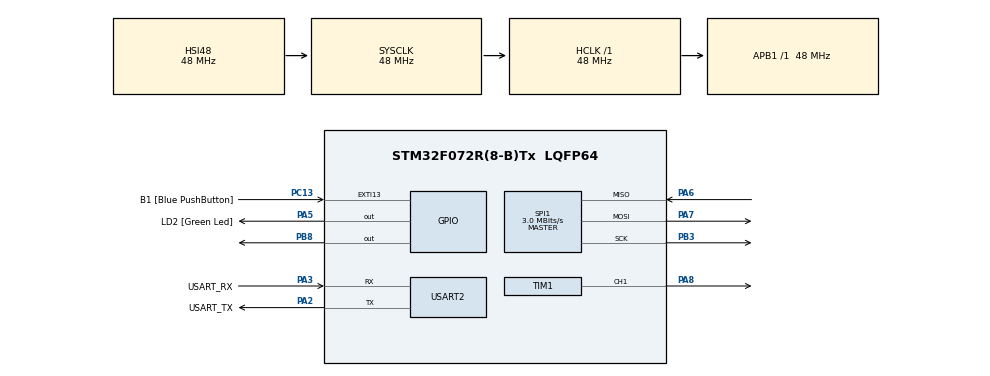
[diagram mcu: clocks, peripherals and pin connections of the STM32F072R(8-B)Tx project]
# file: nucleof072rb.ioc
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Mcu.Family=STM32F0
Mcu.Name=STM32F072R(8-B)Tx
Mcu.Package=LQFP64
PA13.GPIO_Label=TMS
PA13.Mode=Serial_Wire
PA13.Signal=SYS_SWDIO
PA14.GPIO_Label=TCK
PA14.Mode=Serial_Wire
PA14.Signal=SYS_SWCLK
PA2.GPIO_Label=USART_TX
PA2.GPIO_Mode=GPIO_MODE_AF_PP
PA2.GPIO_PuPd=GPIO_NOPULL
PA2.GPIO_Speed=GPIO_SPEED_FREQ_LOW
PA2.Mode=Asynchronous
PA2.Signal=USART2_TX
PA3.GPIO_Label=USART_RX
PA3.GPIO_Mode=GPIO_MODE_AF_PP
PA3.GPIO_PuPd=GPIO_NOPULL
PA3.GPIO_Speed=GPIO_SPEED_FREQ_LOW
PA3.Mode=Asynchronous
PA3.Signal=USART2_RX
PA5.GPIO_Label=LD2 [Green Led]
PA5.GPIO_Mode=GPIO_MODE_OUTPUT_PP
PA5.GPIO_PuPd=GPIO_NOPULL
PA5.GPIO_Speed=GPIO_SPEED_FREQ_LOW
PA5.Signal=GPIO_Output
PA6.Mode=Full_Duplex_Master
PA6.Signal=SPI1_MISO
PA7.Mode=Full_Duplex_Master
PA7.Signal=SPI1_MOSI
PA8.Signal=S_TIM1_CH1
PB3.Mode=Full_Duplex_Master
PB3.Signal=SPI1_SCK
PB8.Signal=GPIO_Output
PC13.GPIO_Label=B1 [Blue PushButton]
PC13.GPIO_ModeDefaultEXTI=GPIO_MODE_IT_FALLING
PC13.Signal=GPXTI13
PC14-OSC32_IN.Mode=LSE-External-Oscillator
PC14-OSC32_IN.Signal=RCC_OSC32_IN
PC15-OSC32_OUT.Mode=LSE-External-Oscillator
PC15-OSC32_OUT.Signal=RCC_OSC32_OUT
PF0-OSC_IN.Mode=HSE-External-Clock-Source
PF0-OSC_IN.Signal=RCC_OSC_IN
PF1-OSC_OUT.Signal=RCC_OSC_OUT
ProjectManager.HeapSize=0x200
ProjectManager.StackSize=0x400
ProjectManager.TargetToolchain=STM32CubeIDE
RCC.AHBFreq_Value=48000000
RCC.APB1Freq_Value=48000000
RCC.APB1TimFreq_Value=48000000
RCC.FLatency-AdvancedSettings=FLASH_LATENCY_1
RCC.HCLKFreq_Value=48000000
RCC.PLLDivider=RCC_PREDIV_DIV2
RCC.PLLMUL=RCC_PLL_MUL12
RCC.PREFETCH_ENABLE-AdvancedSettings=1
RCC.SYSCLKFreq_VALUE=48000000
RCC.SYSCLKSource=RCC_SYSCLKSOURCE_HSI48
SH.S_TIM1_CH1.0=TIM1_CH1,PWM Generation1 CH1
SPI1.BaudRatePrescaler=SPI_BAUDRATEPRESCALER_16
SPI1.CalculateBaudRate=3.0 MBits/s
SPI1.DataSize=SPI_DATASIZE_8BIT
SPI1.Direction=SPI_DIRECTION_2LINES
SPI1.Mode=SPI_MODE_MASTER
SPI1.VirtualType=VM_MASTER
TIM1.Channel-PWM\ Generation1\ CH1=TIM_CHANNEL_1
TIM1.Period=64000
TIM1.Prescaler=14
USART2.VirtualMode=VM_ASYNC
USART2.VirtualMode-Asynchronous=VM_ASYNC
VP_TIM1_VS_ClockSourceINT.Mode=Internal
board=NUCLEO-F072RB

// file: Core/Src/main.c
/* USER CODE BEGIN Header */
/**
  ******************************************************************************
  * @file           : main.c
  * @brief          : Main program body
  ******************************************************************************
  * @attention
  *
  * <h2><center>&copy; Copyright (c) 2021 STMicroelectronics.
  * All rights reserved.</center></h2>
  *
  * This software component is licensed by ST under BSD 3-Clause license,
  * the "License"; You may not use this file except in compliance with the
  * License. You may obtain a copy of the License at:
  *                        opensource.org/licenses/BSD-3-Clause
  *
  ******************************************************************************
  */
/* USER CODE END Header */
#include "main.h"
#include "spi.h"
#include "tim.h"
#include "usart.h"
#include "gpio.h"

/* USER CODE BEGIN PD */
#define MIN_Count 3200 // 3200 count = 1ms, min duty cycle 5%
#define MAX_Count 6400 // 6400 count = 2ms, max duty cycle 10%
#define ADC_MAX 1023   // max digital value of ADC (2^10 - 1)
/* USER CODE END PD */

/* USER CODE BEGIN PV */

uint8_t RxData[3];
uint8_t TxData[3] = {0x01, 0x80, 0x00};  // initiate communication, configure single ended read for CH1, remaining dummy byte
uint16_t ADC_value; 					// to store 10 bit ADC result
uint32_t PWM_duty;

/* USER CODE END PV */

void SystemClock_Config(void);

int main(void)
{

  /* MCU Configuration--------------------------------------------------------*/

  /* Reset of all peripherals, Initializes the Flash interface and the Systick. */
  HAL_Init();

  /* Configure the system clock */
  SystemClock_Config();

  /* Initialize all configured peripherals */
  MX_GPIO_Init();
  MX_USART2_UART_Init();
  MX_SPI1_Init();
  MX_TIM1_Init();
  /* USER CODE BEGIN 2 */

  // Start PWM signal generation on TIM1 CH1
  HAL_TIM_PWM_Start(&htim1, TIM_CHANNEL_1);

  // Set CS pin to high
  HAL_GPIO_WritePin(GPIOB, GPIO_PIN_8, GPIO_PIN_SET); // ref. pg 198 of STM doc

  /* USER CODE END 2 */

  /* Infinite loop */
  while (1)
  {

    /* USER CODE BEGIN 3 */

	  HAL_GPIO_WritePin(GPIOB, GPIO_PIN_8, GPIO_PIN_SET); 	// pull CS to high

	  // ADC communication over SPI; transmit/receive 3 bytes of data from SPI1, with 100ms timeout delay
	  HAL_SPI_TransmitReceive(&hspi1, TxData, RxData, 3, 100);

	  HAL_GPIO_WritePin(GPIOB, GPIO_PIN_8, GPIO_PIN_RESET);  		// pull CS to low

	  // extract 10-bits of ADC data into 1 PWM signal; shifting MSB into correct position and combining data
	  ADC_value = (RxData[1] & 0x03 ) << 8;
	  ADC_value |= RxData[2];

	  // compute duty cycle of 5-10% of 20ms
	  PWM_duty = MIN_Count + ((MAX_Count - MIN_Count) * ADC_value) / ADC_MAX ;

	  // turn ON duty cycle for PWM_duty count
	  __HAL_TIM_SET_COMPARE(&htim1, TIM_CHANNEL_1, PWM_duty);

	  HAL_Delay(10);
  }
  /* USER CODE END 3 */
}

void SystemClock_Config(void)
{
  RCC_OscInitTypeDef RCC_OscInitStruct = {0};
  RCC_ClkInitTypeDef RCC_ClkInitStruct = {0};
  RCC_PeriphCLKInitTypeDef PeriphClkInit = {0};

  /** Initializes the RCC Oscillators according to the specified parameters
  * in the RCC_OscInitTypeDef structure.
  */
  RCC_OscInitStruct.OscillatorType = RCC_OSCILLATORTYPE_HSI48;
  RCC_OscInitStruct.HSI48State = RCC_HSI48_ON;
  RCC_OscInitStruct.PLL.PLLState = RCC_PLL_NONE;
  if (HAL_RCC_OscConfig(&RCC_OscInitStruct) != HAL_OK)
  {
    Error_Handler();
  }
  /** Initializes the CPU, AHB and APB buses clocks
  */
  RCC_ClkInitStruct.ClockType = RCC_CLOCKTYPE_HCLK|RCC_CLOCKTYPE_SYSCLK
                              |RCC_CLOCKTYPE_PCLK1;
  RCC_ClkInitStruct.SYSCLKSource = RCC_SYSCLKSOURCE_HSI48;
  RCC_ClkInitStruct.AHBCLKDivider = RCC_SYSCLK_DIV1;
  RCC_ClkInitStruct.APB1CLKDivider = RCC_HCLK_DIV1;

  if (HAL_RCC_ClockConfig(&RCC_ClkInitStruct, FLASH_LATENCY_1) != HAL_OK)
  {
    Error_Handler();
  }
  PeriphClkInit.PeriphClockSelection = RCC_PERIPHCLK_USART2;
  PeriphClkInit.Usart2ClockSelection = RCC_USART2CLKSOURCE_PCLK1;
  if (HAL_RCCEx_PeriphCLKConfig(&PeriphClkInit) != HAL_OK)
  {
    Error_Handler();
  }
}

void Error_Handler(void)
{
  __disable_irq();
  while (1)
  {
  }
}

/************************ (C) COPYRIGHT STMicroelectronics *****END OF FILE****/
